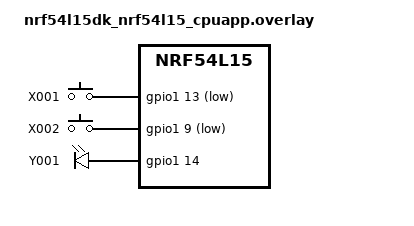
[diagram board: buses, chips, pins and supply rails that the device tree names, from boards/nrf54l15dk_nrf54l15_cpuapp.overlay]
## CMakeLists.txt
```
cmake_minimum_required(VERSION 3.20.0)
find_package(Zephyr REQUIRED HINTS $ENV{ZEPHYR_BASE})
project(my_openplc_app)

# Include PLC logic files
file(GLOB_RECURSE app_sources src/*.c src/*.cpp)

# Add include paths
zephyr_include_directories(src/core src/core/lib)

target_sources(app PRIVATE ${app_sources})
```

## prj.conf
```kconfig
CONFIG_GPIO=y
CONFIG_CPP=y
CONFIG_STD_CPP17=y
CONFIG_POSIX_API=y
CONFIG_NEWLIB_LIBC=y
CONFIG_MAIN_STACK_SIZE=4096
```

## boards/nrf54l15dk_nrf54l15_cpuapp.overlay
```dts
&gpio1 {
	status = "okay";
};

/ {
	aliases {
		plcin1 = &x001_button;
		plcin2 = &x002_button;
		plcout1 = &y001_led;
	};

	gpio_keys {
		compatible = "gpio-keys";
		x001_button: x001 {
			gpios = <&gpio1 13 (GPIO_PULL_UP | GPIO_ACTIVE_LOW)>;
			label = "X001";
		};
		x002_button: x002 {
			gpios = <&gpio1 9 (GPIO_PULL_UP | GPIO_ACTIVE_LOW)>;
			label = "X002";
		};
	};

	leds {
		compatible = "gpio-leds";
		y001_led: y001 {
			gpios = <&gpio1 14 GPIO_ACTIVE_HIGH>;
			label = "Y001";
		};
	};
};
```

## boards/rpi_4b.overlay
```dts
&gpio0 {
	status = "okay";
};

/ {
	aliases {
		plcin1 = &x001_button;
		plcin2 = &x002_button;
		plcout1 = &y001_led;
	};

	gpio_keys {
		compatible = "gpio-keys";
		x001_button: x001 {
			gpios = <&gpio0 10 (GPIO_PULL_DOWN | GPIO_ACTIVE_HIGH)>;
			label = "X001";
		};
		x002_button: x002 {
			gpios = <&gpio0 9 (GPIO_PULL_DOWN | GPIO_ACTIVE_HIGH)>;
			label = "X002";
		};
	};

	leds {
		compatible = "gpio-leds";
		y001_led: y001 {
			gpios = <&gpio0 23 GPIO_ACTIVE_HIGH>;
			label = "Y001";
		};
	};
};
```

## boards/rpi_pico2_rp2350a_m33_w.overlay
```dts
&gpio0 {
	status = "okay";
};

/ {
	aliases {
		plcin1 = &x001_button;
		plcin2 = &x002_button;
		plcout1 = &y001_led;
	};

	gpio_keys {
		compatible = "gpio-keys";
		x001_button: x001 {
			gpios = <&gpio0 15 (GPIO_PULL_DOWN | GPIO_ACTIVE_HIGH)>;
			label = "X001";
		};
		x002_button: x002 {
			gpios = <&gpio0 14 (GPIO_PULL_DOWN | GPIO_ACTIVE_HIGH)>;
			label = "X002";
		};
	};

	leds {
		compatible = "gpio-leds";
		y001_led: y001 {
			gpios = <&gpio0 13 GPIO_ACTIVE_HIGH>;
			label = "Y001";
		};
	};
};
```

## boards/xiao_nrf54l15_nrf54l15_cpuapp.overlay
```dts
&gpio0 {
	status = "okay";
};

&gpio1 {
	status = "okay";
};

&gpio2 {
	status = "okay";
};

/ {
	aliases {
		plcin1 = &x001_button;
		plcin2 = &x002_button;
		plcout1 = &y001_led;
	};

	gpio_keys {
		compatible = "gpio-keys";
		x001_button: x001 {
			gpios = <&gpio0 0 (GPIO_PULL_UP | GPIO_ACTIVE_LOW)>;
			label = "X001";
		};
		x002_button: x002 {
			gpios = <&gpio1 5 (GPIO_PULL_UP | GPIO_ACTIVE_LOW)>;
			label = "X002";
		};
	};

	leds {
		compatible = "gpio-leds";
		y001_led: y001 {
			gpios = <&gpio2 0 GPIO_ACTIVE_LOW>;
			label = "Y001";
		};
	};
};
```

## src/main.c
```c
/* Zephyr main.c template */
#include <zephyr/kernel.h>
#include <zephyr/drivers/gpio.h>
#include <zephyr/sys/printk.h>
#include "iec_std_lib.h" // Include path to lib folder

// Functions defined in Config0.c
extern void config_init__(void);
extern void config_run__(unsigned long tick);
extern unsigned long long common_ticktime__; // Cycle time defined in Config0.c (ns)
extern void glueVars(void);
extern void updateTime(void);

// Variables defined in LOCATED_VARIABLES.h (extern declaration if necessary)
// Mapping based on POUS.c definition:
// X001 -> __IX0_6
// X002 -> __IX0_7
// Y001 -> __QX0_2
extern IEC_BOOL *__IX0_6;
extern IEC_BOOL *__IX0_7;
extern IEC_BOOL *__QX0_2;

// Get GPIO specs from devicetree
static const struct gpio_dt_spec x001 = GPIO_DT_SPEC_GET(DT_ALIAS(plcin1), gpios);
static const struct gpio_dt_spec x002 = GPIO_DT_SPEC_GET(DT_ALIAS(plcin2), gpios);
static const struct gpio_dt_spec y001 = GPIO_DT_SPEC_GET(DT_ALIAS(plcout1), gpios);

int main(void) {
    config_init__(); // Initialization
    glueVars();      // Initialize variable pointers

    // Set cycle time to 1us (1000ns) / 10us (10000ns). Overwrite Config0.c default value.
    common_ticktime__ = 10000;

    unsigned long tick = 0;
    uint32_t start_cyc, end_cyc, scan_time_ns;
    uint32_t prev_start_cyc = 0;
    uint32_t actual_cycle_ns = 0;
    int64_t next_log_time = k_uptime_get();

    // GPIO initialization
    if (!gpio_is_ready_dt(&x001) || !gpio_is_ready_dt(&x002) || !gpio_is_ready_dt(&y001)) {
        printk("Error: GPIO devices not ready\n");
        return 0;
    }

    gpio_pin_configure_dt(&x001, GPIO_INPUT);
    gpio_pin_configure_dt(&x002, GPIO_INPUT);
    gpio_pin_configure_dt(&y001, GPIO_OUTPUT);

    while (1) {
        start_cyc = k_cycle_get_32();
        if (tick > 0) {
            actual_cycle_ns = k_cyc_to_ns_floor32(start_cyc - prev_start_cyc);
        }
        prev_start_cyc = start_cyc;

        // 1. Input: Copy Zephyr GPIO -> PLC variables (__IX0_0 etc.)
        *__IX0_6 = gpio_pin_get_dt(&x001); // X001
        *__IX0_7 = gpio_pin_get_dt(&x002); // X002
        
        // 2. Execute logic
        config_run__(tick++);
        
        // 3. Output: Copy PLC variables (__QX0_0 etc.) -> Zephyr GPIO
        gpio_pin_set_dt(&y001, *__QX0_2); // Y001

        // Update PLC internal time (Required for timers like TON to work)
        updateTime();

        end_cyc = k_cycle_get_32();
        scan_time_ns = k_cyc_to_ns_floor32(end_cyc - start_cyc);

        // For operation check: Output log every 0.1s (100ms)
        int64_t now = k_uptime_get();
        if (now >= next_log_time) {
            printk("PLC Cycle Tick: %lu, Scan Time: %u ns, Cycle Time: %u ns, In(X1,X2): %d %d, Out(Y1): %d\n",
                   tick, scan_time_ns, actual_cycle_ns, *__IX0_6, *__IX0_7, *__QX0_2);
            next_log_time = now + 100;
        }

        // Busy wait until the configured cycle time (common_ticktime__)
        // k_sleep can only wait in system tick units (usually 100us-1ms),
        // so busy wait is required for short duration control like 1us.
        while (k_cyc_to_ns_floor32(k_cycle_get_32() - start_cyc) < common_ticktime__) {
            // Spin loop
        }
    }
    return 0;
}
```
